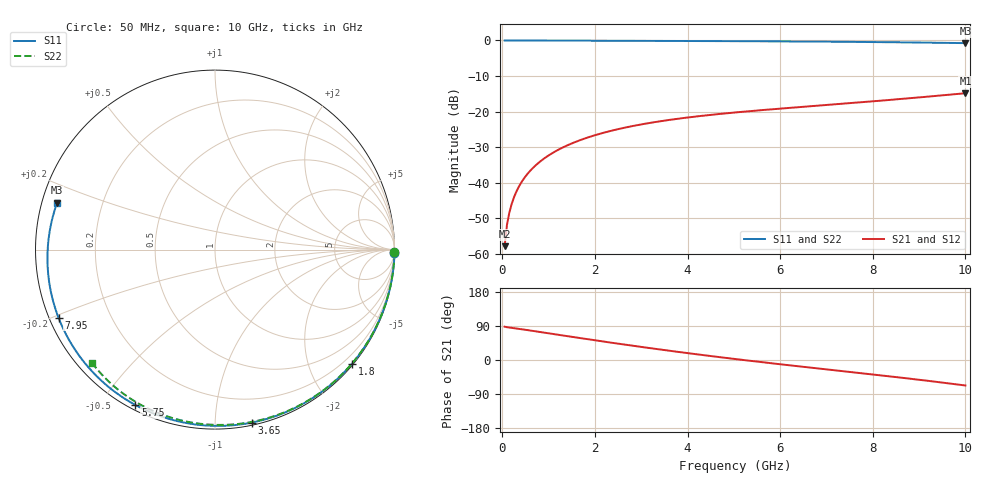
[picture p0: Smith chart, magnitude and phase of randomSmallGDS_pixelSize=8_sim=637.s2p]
! freq	dB(S11)	phase(S11)	dB(S12)	phase(S12)
!  dB(S21)	phase(S21)	dB(S22)	phase(S22)
!S-par simulation data
#  GHz  S  DB  R 50
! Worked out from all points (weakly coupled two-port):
!   200 points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, 50 MHz to 10 GHz, reference 50 ohm
!   highest |S21| = -14.85 dB at 10 GHz (marker M1); lowest = -57.9 dB at 50 MHz (marker M2)
!   lowest |S11| = -0.7 dB at 10 GHz (marker M3), VSWR 23.21, Z = 2.2 + j7.28 ohm
!   |S11| at or under -10 dB: nowhere
!   |S22| runs from -0.6 to 0.0 dB; largest |S21 - S12| = 0
!   S11 on the Smith chart (normalised r, x): 50 MHz: open; 1.8 GHz: 0.03, -2.76; 3.65 GHz: 0.02, -1.24; 5.75 GHz: 0.02, -0.61; 7.95 GHz: 0.03, -0.21; 10 GHz: 0.04, +0.15
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0.05  -0.00 -1.1  -57.86 87.9  -57.86 87.9  -0.00 -0.8
0.1  -0.00 -2.3  -51.97 86.6  -51.97 86.6  -0.00 -1.6
0.15  -0.00 -3.4  -48.54 85.7  -48.54 85.7  -0.00 -2.4
0.2  -0.00 -4.5  -46.10 84.8  -46.10 84.8  -0.00 -3.2
0.35  -0.01 -7.9  -41.32 82.4  -41.32 82.4  -0.00 -5.6
0.5  -0.01 -11.3  -38.26 79.7  -38.26 79.7  -0.01 -8.1
0.7  -0.02 -15.7  -35.37 76.1  -35.37 76.1  -0.01 -11.2
1  -0.03 -22.4  -32.34 70.5  -32.34 70.5  -0.02 -16.0
1.35  -0.04 -30.1  -29.83 64.0  -29.83 64.0  -0.03 -21.5
1.75  -0.06 -38.8  -27.72 56.6  -27.72 56.6  -0.04 -27.8
1.8  -0.06 -39.8  -27.49 55.7  -27.49 55.7  -0.04 -28.6
2.6  -0.09 -56.7  -24.65 41.4  -24.65 41.4  -0.07 -40.8
3.4  -0.12 -72.9  -22.75 27.8  -22.75 27.8  -0.09 -52.7
3.65  -0.13 -77.9  -22.27 23.8  -22.27 23.8  -0.10 -56.3
4.35  -0.16 -91.3  -21.14 12.7  -21.14 12.7  -0.12 -66.3
5.05  -0.20 -104.4  -20.23 2.2  -20.23 2.2  -0.15 -75.9
5.75  -0.24 -117.1  -19.44 -7.7  -19.44 -7.7  -0.19 -85.3
6.7  -0.31 -134.1  -18.46 -20.7  -18.46 -20.7  -0.24 -97.5
7.95  -0.44 -156.5  -17.18 -37.5  -17.18 -37.5  -0.35 -112.9
8.35  -0.49 -163.9  -16.74 -42.9  -16.74 -42.9  -0.39 -117.7
9.2  -0.61 179.9  -15.79 -55.0  -15.79 -55.0  -0.49 -127.8
10  -0.75 163.4  -14.85 -67.3  -14.85 -67.3  -0.61 -137.1
